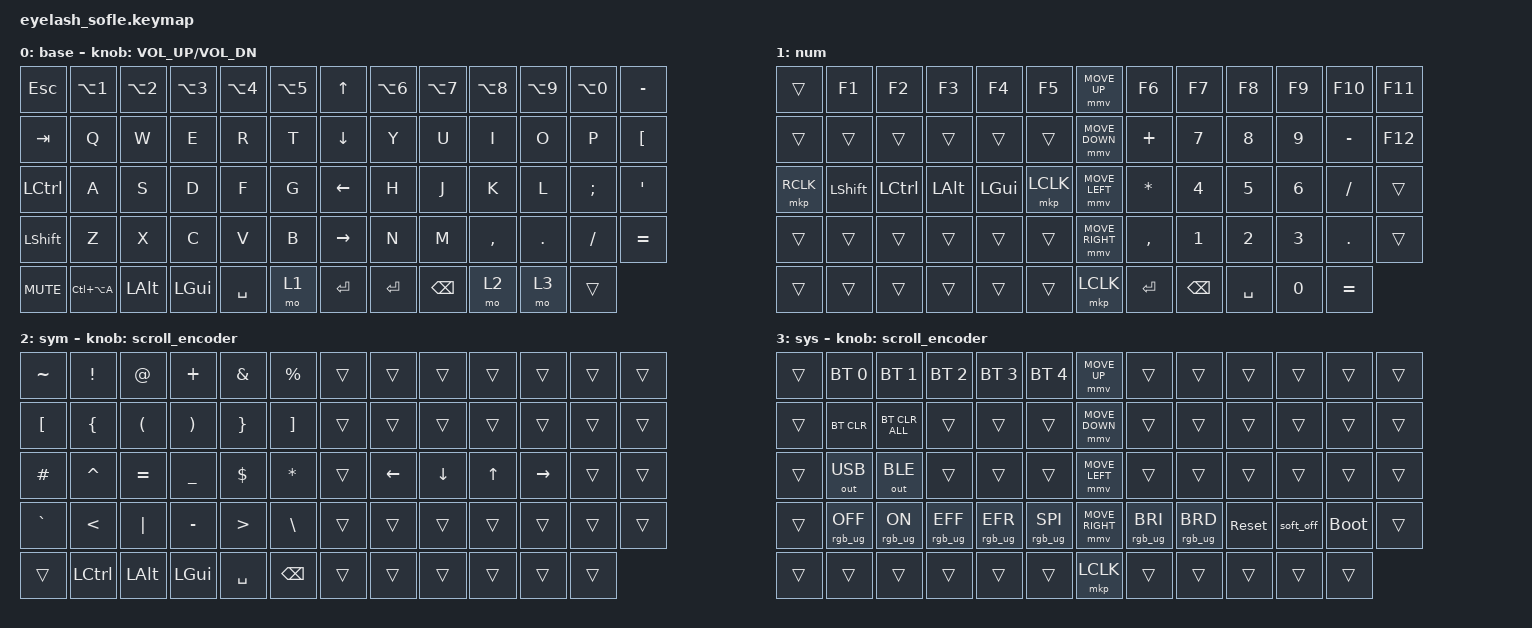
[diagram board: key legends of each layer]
#define ZMK_POINTING_DEFAULT_MOVE_VAL 1200  // 600
#define ZMK_POINTING_DEFAULT_SCRL_VAL 25   // 10

#include <input/processors.dtsi>
#include <zephyr/dt-bindings/input/input-event-codes.h>
#include <behaviors.dtsi>
#include <dt-bindings/zmk/bt.h>
#include <dt-bindings/zmk/keys.h>
#include <dt-bindings/zmk/outputs.h>
#include <dt-bindings/zmk/pointing.h>
#include <dt-bindings/zmk/rgb.h>

&mmv_input_listener { input-processors = <&zip_xy_scaler 2 1>; };

&msc_input_listener { input-processors = <&zip_scroll_scaler 2 1>; };

&msc {
    acceleration-exponent = <1>;      // 0
    time-to-max-speed-ms = <100>;       // 300
    delay-ms = <0>;                   // 0
};

&mmv {
    time-to-max-speed-ms = <500>;
    acceleration-exponent = <1>;
    trigger-period-ms = <16>;
};

&soft_off { hold-time-ms = <2000>; };

/ {
    scroll_encoder: scroll_encoder {
        compatible = "zmk,behavior-sensor-rotate";
        #sensor-binding-cells = <0>;
        bindings = <&msc SCRL_DOWN>, <&msc SCRL_UP>;

        tap-ms = <100>;
        label = "SCROLL_ENCODER";
    };

    hold_tap: hold_tap {
        compatible = "zmk,behavior-hold-tap";
        label = "HOLD_TAP";
        bindings = <&kp>, <&kp>;

        #binding-cells = <2>;
        tapping-term-ms = <150>;
        require-prior-idle-ms = <150>;
        flavor = "balanced";
        hold-trigger-on-release;
        quick-tap-ms = <175>;
    };

    behaviors {
    };

    combos {
        compatible = "zmk,combos";

        softoff {
            bindings = <&soft_off>;
            key-positions = <14 28 40>;
        };

        esc {
            bindings = <&kp ESC>;
            key-positions = <34 35>;
        };
    };

    macros {
        qq: qq {
            compatible = "zmk,behavior-macro";
            #binding-cells = <0>;
            bindings = <&kp N3 &kp N7 &kp N3 &kp N4 &kp N4 &kp N1 &kp N7 &kp N7 &kp N0 &kp AT &kp Q &kp Q &kp DOT &kp C &kp O &kp M>;
            label = "QQ";
        };

        gmail: gmail {
            compatible = "zmk,behavior-macro";
            #binding-cells = <0>;
            bindings = <&kp C &kp H &kp R &kp I &kp S &kp DOT &kp H &kp DOT &kp F &kp DOT &kp X &kp U &kp AT &kp G &kp M &kp A &kp I &kp L &kp DOT &kp C &kp O &kp M>;
            label = "GMAIL";
        };

        name: name {
            compatible = "zmk,behavior-macro";
            #binding-cells = <0>;
            bindings = <&kp X &kp U &kp H &kp A &kp I &kp F &kp A &kp N>;
            label = "NAME";
        };
    };

    keymap {
        compatible = "zmk,keymap";

        mac {
            bindings = <
&kp ESC     &kp LA(N1)     &kp LA(N2)    &kp LA(N3)    &kp LA(N4)  &kp LA(N5)    &kp UP_ARROW     &kp LA(N6)  &kp LA(N7)     &kp LA(N8)  &kp LA(N9)  &kp LA(N0)  &kp MINUS
&kp TAB     &kp Q          &kp W         &kp E         &kp R       &kp T         &kp DOWN_ARROW   &kp Y       &kp U          &kp I       &kp O       &kp P       &kp LBKT
&kp LCTRL   &kp A          &kp S         &kp D         &kp F       &kp G         &kp LEFT_ARROW   &kp H       &kp J          &kp K       &kp L       &kp SEMI    &kp APOS
&kp LSHFT   &kp Z          &kp X         &kp C         &kp V       &kp B         &kp RIGHT_ARROW  &kp N       &kp M          &kp COMMA   &kp DOT     &kp FSLH    &kp EQUAL
&kp C_MUTE  &kp LC(LA(A))  &kp LEFT_ALT  &kp LEFT_GUI  &kp SPACE   &mo 1         &kp ENTER        &kp ENTER   &kp BACKSPACE  &mo 2       &mo 3       &trans
            >;

            sensor-bindings = <&inc_dec_kp C_VOLUME_UP C_VOL_DN>;
            display-name = "base";
        };

        numpad {
            bindings = <
&trans     &kp F1     &kp F2     &kp F3    &kp F4    &kp F5       &mmv MOVE_UP     &kp F6        &kp F7         &kp F8     &kp F9  &kp F10    &kp F11
&trans     &trans     &trans     &trans    &trans    &trans       &mmv MOVE_DOWN   &kp PLUS      &kp N7         &kp N8     &kp N9  &kp MINUS  &kp F12
&mkp RCLK  &kp LSHFT  &kp LCTRL  &kp LALT  &kp LGUI  &mkp LCLK    &mmv MOVE_LEFT   &kp ASTERISK  &kp N4         &kp N5     &kp N6  &kp FSLH   &trans
&trans     &trans     &trans     &trans    &trans    &trans       &mmv MOVE_RIGHT  &kp COMMA     &kp N1         &kp N2     &kp N3  &kp DOT    &trans
&trans     &trans     &trans     &trans    &trans    &trans       &mkp LCLK        &kp ENTER     &kp BACKSPACE  &kp SPACE  &kp N0  &kp EQUAL
            >;

            label = "num";
        };

        symbols {
            bindings = <
&kp TILDE  &kp EXCL   &kp AT        &kp PLUS      &kp AMPS    &kp PRCNT        &trans  &trans    &trans    &trans  &trans     &trans  &trans
&kp LBKT   &kp LBRC   &kp LPAR      &kp RPAR      &kp RBRC    &kp RBKT         &trans  &trans    &trans    &trans  &trans     &trans  &trans
&kp HASH   &kp CARET  &kp EQUAL     &kp UNDER     &kp DOLLAR  &kp ASTRK        &trans  &kp LEFT  &kp DOWN  &kp UP  &kp RIGHT  &trans  &trans
&kp GRAVE  &kp LT     &kp PIPE      &kp MINUS     &kp GT      &kp BACKSLASH    &trans  &trans    &trans    &trans  &trans     &trans  &trans
&trans     &kp LCTRL  &kp LEFT_ALT  &kp LEFT_GUI  &kp SPACE   &kp BACKSPACE    &trans  &trans    &trans    &trans  &trans     &trans
            >;

            label = "sym";
            sensor-bindings = <&scroll_encoder>;
        };

        system {
            bindings = <
&trans  &bt BT_SEL 0     &bt BT_SEL 1    &bt BT_SEL 2     &bt BT_SEL 3     &bt BT_SEL 4       &mmv MOVE_UP     &trans           &trans           &trans      &trans     &trans       &trans
&trans  &bt BT_CLR       &bt BT_CLR_ALL  &trans           &trans           &trans             &mmv MOVE_DOWN   &trans           &trans           &trans      &trans     &trans       &trans
&trans  &out OUT_USB     &out OUT_BLE    &trans           &trans           &trans             &mmv MOVE_LEFT   &trans           &trans           &trans      &trans     &trans       &trans
&trans  &rgb_ug RGB_OFF  &rgb_ug RGB_ON  &rgb_ug RGB_EFF  &rgb_ug RGB_EFR  &rgb_ug RGB_SPI    &mmv MOVE_RIGHT  &rgb_ug RGB_BRI  &rgb_ug RGB_BRD  &sys_reset  &soft_off  &bootloader  &trans
&trans  &trans           &trans          &trans           &trans           &trans             &mkp LCLK        &trans           &trans           &trans      &trans     &trans
            >;

            display-name = "sys";
            sensor-bindings = <&scroll_encoder>;
        };
    };
};
